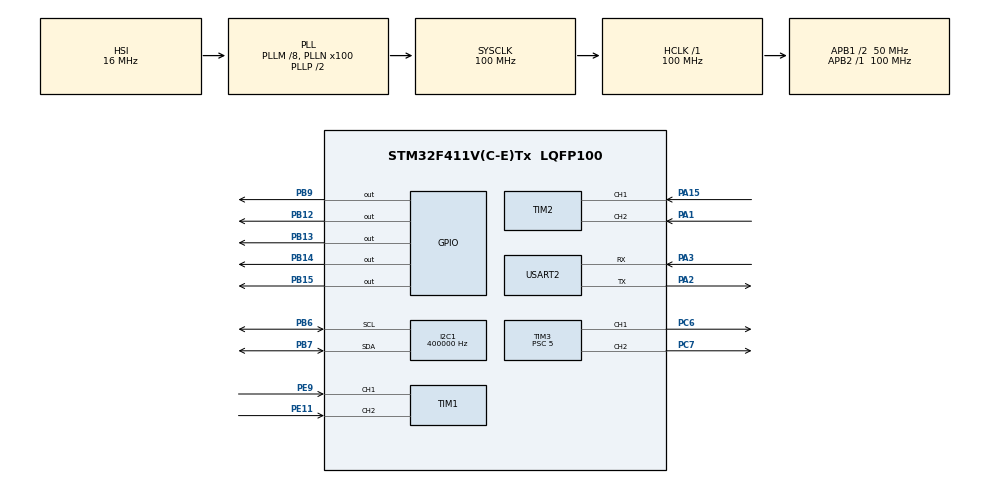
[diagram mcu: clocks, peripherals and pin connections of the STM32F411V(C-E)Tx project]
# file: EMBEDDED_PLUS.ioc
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Dma.I2C1_RX.0.Direction=DMA_PERIPH_TO_MEMORY
Dma.I2C1_RX.0.FIFOMode=DMA_FIFOMODE_DISABLE
Dma.I2C1_RX.0.Instance=DMA1_Stream0
Dma.I2C1_RX.0.MemDataAlignment=DMA_MDATAALIGN_BYTE
Dma.I2C1_RX.0.MemInc=DMA_MINC_ENABLE
Dma.I2C1_RX.0.Mode=DMA_NORMAL
Dma.I2C1_RX.0.PeriphDataAlignment=DMA_PDATAALIGN_BYTE
Dma.I2C1_RX.0.PeriphInc=DMA_PINC_DISABLE
Dma.I2C1_RX.0.Priority=DMA_PRIORITY_HIGH
Dma.Request0=I2C1_RX
FREERTOS.BinarySemaphores01=I2CSemaphore,Dynamic,NULL,Available
FREERTOS.Mutexes01=DataMutex,Dynamic,NULL,Available
FREERTOS.Queues01=UartQueue,16,uint8_t,0,Dynamic,NULL,NULL
FREERTOS.Tasks01=CommandTask,0,256,StartCommandTask,Default,NULL,Dynamic,NULL,NULL;BalanceTask,-3,512,StartBalanceTask,Default,NULL,Dynamic,NULL,NULL;SpeedTask,1,256,StartSpeedTask,Default,NULL,Dynamic,NULL,NULL
I2C1.ClockSpeed=400000
I2C1.I2C_Mode=I2C_Fast
Mcu.Family=STM32F4
Mcu.Name=STM32F411V(C-E)Tx
Mcu.Package=LQFP100
NVIC.DMA1_Stream0_IRQn=true\:5\:0\:false\:false\:true\:true\:false\:true\:true
NVIC.I2C1_ER_IRQn=true\:5\:0\:false\:false\:true\:true\:true\:true\:true
NVIC.I2C1_EV_IRQn=true\:5\:0\:false\:false\:true\:true\:true\:true\:true
NVIC.PriorityGroup=NVIC_PRIORITYGROUP_4
NVIC.TIM5_IRQn=true\:15\:0\:false\:false\:true\:false\:false\:true\:true
NVIC.TimeBase=TIM5_IRQn
NVIC.TimeBaseIP=TIM5
NVIC.USART2_IRQn=true\:5\:0\:true\:false\:true\:true\:true\:true\:true
PA1.Signal=S_TIM2_CH2
PA13.Mode=Serial_Wire
PA13.Signal=SYS_JTMS-SWDIO
PA14.Mode=Serial_Wire
PA14.Signal=SYS_JTCK-SWCLK
PA15.Signal=S_TIM2_CH1_ETR
PA2.Mode=Asynchronous
PA2.Signal=USART2_TX
PA3.Mode=Asynchronous
PA3.Signal=USART2_RX
PB12.Signal=GPIO_Output
PB13.Signal=GPIO_Output
PB14.Signal=GPIO_Output
PB15.Signal=GPIO_Output
PB6.Mode=I2C
PB6.Signal=I2C1_SCL
PB7.Mode=I2C
PB7.Signal=I2C1_SDA
PB9.Signal=GPIO_Output
PC6.Signal=S_TIM3_CH1
PC7.Signal=S_TIM3_CH2
PE11.Signal=S_TIM1_CH2
PE9.Signal=S_TIM1_CH1
PH0\ -\ OSC_IN.Mode=HSE-External-Oscillator
PH0\ -\ OSC_IN.Signal=RCC_OSC_IN
PH1\ -\ OSC_OUT.Mode=HSE-External-Oscillator
PH1\ -\ OSC_OUT.Signal=RCC_OSC_OUT
ProjectManager.HeapSize=0x200
ProjectManager.StackSize=0x400
ProjectManager.TargetToolchain=STM32CubeIDE
RCC.48MHZClocksFreq_Value=50000000
RCC.AHBFreq_Value=100000000
RCC.APB1CLKDivider=RCC_HCLK_DIV2
RCC.APB1Freq_Value=50000000
RCC.APB1TimFreq_Value=100000000
RCC.APB2Freq_Value=100000000
RCC.APB2TimFreq_Value=100000000
RCC.CortexFreq_Value=100000000
RCC.HCLKFreq_Value=100000000
RCC.HSE_VALUE=25000000
RCC.HSI_VALUE=16000000
RCC.LSE_VALUE=32768
RCC.PLLM=8
RCC.PLLN=100
RCC.SYSCLKFreq_VALUE=100000000
RCC.SYSCLKSource=RCC_SYSCLKSOURCE_PLLCLK
RCC.VCOOutputFreq_Value=200000000
SH.S_TIM1_CH1.0=TIM1_CH1,Encoder_Interface
SH.S_TIM1_CH2.0=TIM1_CH2,Encoder_Interface
SH.S_TIM2_CH1_ETR.0=TIM2_CH1,Encoder_Interface
SH.S_TIM2_CH2.0=TIM2_CH2,Encoder_Interface
SH.S_TIM3_CH1.0=TIM3_CH1,PWM Generation1 CH1
SH.S_TIM3_CH2.0=TIM3_CH2,PWM Generation2 CH2
TIM1.EncoderMode=TIM_ENCODERMODE_TI12
TIM2.EncoderMode=TIM_ENCODERMODE_TI12
TIM3.Channel-PWM\ Generation1\ CH1=TIM_CHANNEL_1
TIM3.Channel-PWM\ Generation2\ CH2=TIM_CHANNEL_2
TIM3.Period=999
TIM3.Prescaler=5
USART2.VirtualMode=VM_ASYNC
VP_FREERTOS_VS_CMSIS_V1.Mode=CMSIS_V1
VP_SYS_VS_tim5.Mode=TIM5
VP_TIM3_VS_ClockSourceINT.Mode=Internal
board=custom

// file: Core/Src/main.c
/* USER CODE BEGIN Header */
/**
  ******************************************************************************
  * @file           : main.c
  * @brief          : Main program body
  ******************************************************************************
  * @attention
  *
  * Copyright (c) 2026 STMicroelectronics.
  * All rights reserved.
  *
  * This software is licensed under terms that can be found in the LICENSE file
  * in the root directory of this software component.
  * If no LICENSE file comes with this software, it is provided AS-IS.
  *
  ******************************************************************************
  */
/* USER CODE END Header */
#include "main.h"
#include "cmsis_os.h"

/* USER CODE BEGIN Includes */
#include "math.h"
#include "FreeRTOS.h"
#include "string.h"
#include <stdio.h>
/* USER CODE END Includes */

I2C_HandleTypeDef hi2c1;
DMA_HandleTypeDef hdma_i2c1_rx;

TIM_HandleTypeDef htim1;
TIM_HandleTypeDef htim2;
TIM_HandleTypeDef htim3;

UART_HandleTypeDef huart2;

osThreadId CommandTaskHandle;
osThreadId BalanceTaskHandle;
osThreadId SpeedTaskHandle;
osMessageQId UartQueueHandle;
osMutexId DataMutexHandle;
osSemaphoreId I2CSemaphoreHandle;
/* USER CODE BEGIN PV */
uint8_t mpu_raw_data[14];
float gyro_bias_x = 0.0f;
float gyro_bias_y = 0.0f;
float gyro_bias_z = 0.0f;

// --- Biến trạng thái điều khiển ---
float angle = 0.0f;
float angle_gyro = 0.0f;
int16_t pwm = 0;
float angle_offset = -2.3f;
int16_t enc1 = 0;
int16_t enc2 = 0;
int16_t pwm_left = 0;
int16_t pwm_right = 0;
float current_speed = 0;
// --- Biến giao tiếp lệnh (Bảo vệ bằng Mutex) ---
float target_speed = 0.0f;
int16_t turn_offset = 0;

// --- Thông số PID góc (Vòng trong) ---
float Kp_angle = 88.8f;
float Kd_angle = 1.6f;

// --- Thông số PID tốc độ (Vòng ngoài) ---
float Kp_speed = 0.25f;
float Ki_speed = 0.003f;
float Kff_speed = 0.08f;

float speed_integral = 0.0f;
float filtered_speed = 0.0f;

// --- Dữ liệu UART RX ---
uint8_t rx_byte;
char buff[128];
/* USER CODE END PV */

void SystemClock_Config(void);
static void MX_GPIO_Init(void);
static void MX_DMA_Init(void);
static void MX_I2C1_Init(void);
static void MX_TIM2_Init(void);
static void MX_TIM3_Init(void);
static void MX_USART2_UART_Init(void);
static void MX_TIM1_Init(void);
void StartCommandTask(void const * argument);
void StartBalanceTask(void const * argument);
void StartSpeedTask(void const * argument);

/* USER CODE BEGIN PFP */
void MPU9250_CalibrateGyro(void);
void Motor_Set(int16_t pwm_left, int16_t pwm_right);
/* USER CODE END PFP */

int main(void)
{

  /* MCU Configuration--------------------------------------------------------*/

  /* Reset of all peripherals, Initializes the Flash interface and the Systick. */
  HAL_Init();

  /* Configure the system clock */
  SystemClock_Config();

  /* Initialize all configured peripherals */
  MX_GPIO_Init();
  MX_DMA_Init();
  MX_I2C1_Init();
  MX_TIM2_Init();
  MX_TIM3_Init();
  MX_USART2_UART_Init();
  MX_TIM1_Init();
  /* USER CODE BEGIN 2 */
  HAL_TIM_PWM_Start(&htim3, TIM_CHANNEL_1);
  HAL_TIM_PWM_Start(&htim3, TIM_CHANNEL_2);
  HAL_TIM_Encoder_Start(&htim2, TIM_CHANNEL_ALL);
  HAL_TIM_Encoder_Start(&htim1, TIM_CHANNEL_ALL);
  __HAL_TIM_MOE_ENABLE(&htim1);
  HAL_GPIO_WritePin(GPIOB, GPIO_PIN_9,GPIO_PIN_SET);
  Motor_Set(0,0);
  uint8_t data=0x00;
  HAL_I2C_Mem_Write(&hi2c1, 0x68 << 1, 0x6B, I2C_MEMADD_SIZE_8BIT, &data, 1, 100);
  HAL_Delay(10);
  uint8_t dlpf_cfg = 0x03; // Bật bộ lọc thông thấp ~42Hz chống rung chấn va chạm
  HAL_I2C_Mem_Write(&hi2c1, 0x68 << 1, 0x1A, I2C_MEMADD_SIZE_8BIT, &dlpf_cfg, 1, 100);
  uint8_t gyro_cfg = 0x10; // Nâng dải đo Gyro lên +-1000 deg/s
  HAL_I2C_Mem_Write(&hi2c1, 0x68 << 1, 0x1B, I2C_MEMADD_SIZE_8BIT, &gyro_cfg, 1, 100);
  HAL_Delay(1000);
  MPU9250_CalibrateGyro();
  /* USER CODE END 2 */

  /* Create the mutex(es) */
  /* definition and creation of DataMutex */
  osMutexDef(DataMutex);
  DataMutexHandle = osMutexCreate(osMutex(DataMutex));

  /* Create the semaphores(s) */
  /* definition and creation of I2CSemaphore */
  osSemaphoreDef(I2CSemaphore);
  I2CSemaphoreHandle = osSemaphoreCreate(osSemaphore(I2CSemaphore), 1);

  /* USER CODE BEGIN RTOS_SEMAPHORES */
  /* add semaphores, ... */
  osSemaphoreWait(I2CSemaphoreHandle, 0);
  /* USER CODE END RTOS_SEMAPHORES */

  /* Create the queue(s) */
  /* definition and creation of UartQueue */
  osMessageQDef(UartQueue, 16, uint8_t);
  UartQueueHandle = osMessageCreate(osMessageQ(UartQueue), NULL);

  /* Create the thread(s) */
  /* definition and creation of CommandTask */
  osThreadDef(CommandTask, StartCommandTask, 2, 0, 256);
  CommandTaskHandle = osThreadCreate(osThread(CommandTask), NULL);

  /* definition and creation of BalanceTask */
  osThreadDef(BalanceTask, StartBalanceTask, 3, 0, 512);
  BalanceTaskHandle = osThreadCreate(osThread(BalanceTask), NULL);

  /* definition and creation of SpeedTask */
  osThreadDef(SpeedTask, StartSpeedTask, 1, 0, 256);
  SpeedTaskHandle = osThreadCreate(osThread(SpeedTask), NULL);

  /* USER CODE BEGIN RTOS_THREADS */
  /* add threads, ... */
  HAL_UART_Receive_IT(&huart2, &rx_byte, 1);
  /* USER CODE END RTOS_THREADS */

  /* Start scheduler */
  osKernelStart();

  /* We should never get here as control is now taken by the scheduler */

  /* Infinite loop */
  while (1)
  {

  }
}

void SystemClock_Config(void)
{
  RCC_OscInitTypeDef RCC_OscInitStruct = {0};
  RCC_ClkInitTypeDef RCC_ClkInitStruct = {0};

  /** Configure the main internal regulator output voltage
  */
  __HAL_RCC_PWR_CLK_ENABLE();
  __HAL_PWR_VOLTAGESCALING_CONFIG(PWR_REGULATOR_VOLTAGE_SCALE1);

  /** Initializes the RCC Oscillators according to the specified parameters
  * in the RCC_OscInitTypeDef structure.
  */
  RCC_OscInitStruct.OscillatorType = RCC_OSCILLATORTYPE_HSI;
  RCC_OscInitStruct.HSIState = RCC_HSI_ON;
  RCC_OscInitStruct.HSICalibrationValue = RCC_HSICALIBRATION_DEFAULT;
  RCC_OscInitStruct.PLL.PLLState = RCC_PLL_ON;
  RCC_OscInitStruct.PLL.PLLSource = RCC_PLLSOURCE_HSI;
  RCC_OscInitStruct.PLL.PLLM = 8;
  RCC_OscInitStruct.PLL.PLLN = 100;
  RCC_OscInitStruct.PLL.PLLP = RCC_PLLP_DIV2;
  RCC_OscInitStruct.PLL.PLLQ = 4;
  if (HAL_RCC_OscConfig(&RCC_OscInitStruct) != HAL_OK)
  {
    Error_Handler();
  }

  /** Initializes the CPU, AHB and APB buses clocks
  */
  RCC_ClkInitStruct.ClockType = RCC_CLOCKTYPE_HCLK|RCC_CLOCKTYPE_SYSCLK
                              |RCC_CLOCKTYPE_PCLK1|RCC_CLOCKTYPE_PCLK2;
  RCC_ClkInitStruct.SYSCLKSource = RCC_SYSCLKSOURCE_PLLCLK;
  RCC_ClkInitStruct.AHBCLKDivider = RCC_SYSCLK_DIV1;
  RCC_ClkInitStruct.APB1CLKDivider = RCC_HCLK_DIV2;
  RCC_ClkInitStruct.APB2CLKDivider = RCC_HCLK_DIV1;

  if (HAL_RCC_ClockConfig(&RCC_ClkInitStruct, FLASH_LATENCY_3) != HAL_OK)
  {
    Error_Handler();
  }
}

static void MX_I2C1_Init(void)
{

  hi2c1.Instance = I2C1;
  hi2c1.Init.ClockSpeed = 400000;
  hi2c1.Init.DutyCycle = I2C_DUTYCYCLE_2;
  hi2c1.Init.OwnAddress1 = 0;
  hi2c1.Init.AddressingMode = I2C_ADDRESSINGMODE_7BIT;
  hi2c1.Init.DualAddressMode = I2C_DUALADDRESS_DISABLE;
  hi2c1.Init.OwnAddress2 = 0;
  hi2c1.Init.GeneralCallMode = I2C_GENERALCALL_DISABLE;
  hi2c1.Init.NoStretchMode = I2C_NOSTRETCH_DISABLE;
  if (HAL_I2C_Init(&hi2c1) != HAL_OK)
  {
    Error_Handler();
  }

}

static void MX_TIM1_Init(void)
{

  TIM_Encoder_InitTypeDef sConfig = {0};
  TIM_MasterConfigTypeDef sMasterConfig = {0};

  htim1.Instance = TIM1;
  htim1.Init.Prescaler = 0;
  htim1.Init.CounterMode = TIM_COUNTERMODE_UP;
  htim1.Init.Period = 65535;
  htim1.Init.ClockDivision = TIM_CLOCKDIVISION_DIV1;
  htim1.Init.RepetitionCounter = 0;
  htim1.Init.AutoReloadPreload = TIM_AUTORELOAD_PRELOAD_DISABLE;
  sConfig.EncoderMode = TIM_ENCODERMODE_TI12;
  sConfig.IC1Polarity = TIM_ICPOLARITY_RISING;
  sConfig.IC1Selection = TIM_ICSELECTION_DIRECTTI;
  sConfig.IC1Prescaler = TIM_ICPSC_DIV1;
  sConfig.IC1Filter = 0;
  sConfig.IC2Polarity = TIM_ICPOLARITY_RISING;
  sConfig.IC2Selection = TIM_ICSELECTION_DIRECTTI;
  sConfig.IC2Prescaler = TIM_ICPSC_DIV1;
  sConfig.IC2Filter = 0;
  if (HAL_TIM_Encoder_Init(&htim1, &sConfig) != HAL_OK)
  {
    Error_Handler();
  }
  sMasterConfig.MasterOutputTrigger = TIM_TRGO_RESET;
  sMasterConfig.MasterSlaveMode = TIM_MASTERSLAVEMODE_DISABLE;
  if (HAL_TIMEx_MasterConfigSynchronization(&htim1, &sMasterConfig) != HAL_OK)
  {
    Error_Handler();
  }

}

static void MX_TIM2_Init(void)
{

  TIM_Encoder_InitTypeDef sConfig = {0};
  TIM_MasterConfigTypeDef sMasterConfig = {0};

  htim2.Instance = TIM2;
  htim2.Init.Prescaler = 0;
  htim2.Init.CounterMode = TIM_COUNTERMODE_UP;
  htim2.Init.Period = 4294967295;
  htim2.Init.ClockDivision = TIM_CLOCKDIVISION_DIV1;
  htim2.Init.AutoReloadPreload = TIM_AUTORELOAD_PRELOAD_DISABLE;
  sConfig.EncoderMode = TIM_ENCODERMODE_TI12;
  sConfig.IC1Polarity = TIM_ICPOLARITY_RISING;
  sConfig.IC1Selection = TIM_ICSELECTION_DIRECTTI;
  sConfig.IC1Prescaler = TIM_ICPSC_DIV1;
  sConfig.IC1Filter = 0;
  sConfig.IC2Polarity = TIM_ICPOLARITY_RISING;
  sConfig.IC2Selection = TIM_ICSELECTION_DIRECTTI;
  sConfig.IC2Prescaler = TIM_ICPSC_DIV1;
  sConfig.IC2Filter = 0;
  if (HAL_TIM_Encoder_Init(&htim2, &sConfig) != HAL_OK)
  {
    Error_Handler();
  }
  sMasterConfig.MasterOutputTrigger = TIM_TRGO_RESET;
  sMasterConfig.MasterSlaveMode = TIM_MASTERSLAVEMODE_DISABLE;
  if (HAL_TIMEx_MasterConfigSynchronization(&htim2, &sMasterConfig) != HAL_OK)
  {
    Error_Handler();
  }

}

static void MX_TIM3_Init(void)
{

  TIM_ClockConfigTypeDef sClockSourceConfig = {0};
  TIM_MasterConfigTypeDef sMasterConfig = {0};
  TIM_OC_InitTypeDef sConfigOC = {0};

  htim3.Instance = TIM3;
  htim3.Init.Prescaler = 5;
  htim3.Init.CounterMode = TIM_COUNTERMODE_UP;
  htim3.Init.Period = 999;
  htim3.Init.ClockDivision = TIM_CLOCKDIVISION_DIV1;
  htim3.Init.AutoReloadPreload = TIM_AUTORELOAD_PRELOAD_DISABLE;
  if (HAL_TIM_Base_Init(&htim3) != HAL_OK)
  {
    Error_Handler();
  }
  sClockSourceConfig.ClockSource = TIM_CLOCKSOURCE_INTERNAL;
  if (HAL_TIM_ConfigClockSource(&htim3, &sClockSourceConfig) != HAL_OK)
  {
    Error_Handler();
  }
  if (HAL_TIM_PWM_Init(&htim3) != HAL_OK)
  {
    Error_Handler();
  }
  sMasterConfig.MasterOutputTrigger = TIM_TRGO_RESET;
  sMasterConfig.MasterSlaveMode = TIM_MASTERSLAVEMODE_DISABLE;
  if (HAL_TIMEx_MasterConfigSynchronization(&htim3, &sMasterConfig) != HAL_OK)
  {
    Error_Handler();
  }
  sConfigOC.OCMode = TIM_OCMODE_PWM1;
  sConfigOC.Pulse = 0;
  sConfigOC.OCPolarity = TIM_OCPOLARITY_HIGH;
  sConfigOC.OCFastMode = TIM_OCFAST_DISABLE;
  if (HAL_TIM_PWM_ConfigChannel(&htim3, &sConfigOC, TIM_CHANNEL_1) != HAL_OK)
  {
    Error_Handler();
  }
  if (HAL_TIM_PWM_ConfigChannel(&htim3, &sConfigOC, TIM_CHANNEL_2) != HAL_OK)
  {
    Error_Handler();
  }
  HAL_TIM_MspPostInit(&htim3);

}

static void MX_USART2_UART_Init(void)
{

  huart2.Instance = USART2;
  huart2.Init.BaudRate = 115200;
  huart2.Init.WordLength = UART_WORDLENGTH_8B;
  huart2.Init.StopBits = UART_STOPBITS_1;
  huart2.Init.Parity = UART_PARITY_NONE;
  huart2.Init.Mode = UART_MODE_TX_RX;
  huart2.Init.HwFlowCtl = UART_HWCONTROL_NONE;
  huart2.Init.OverSampling = UART_OVERSAMPLING_16;
  if (HAL_UART_Init(&huart2) != HAL_OK)
  {
    Error_Handler();
  }

}

static void MX_DMA_Init(void)
{

  /* DMA controller clock enable */
  __HAL_RCC_DMA1_CLK_ENABLE();

  /* DMA interrupt init */
  /* DMA1_Stream0_IRQn interrupt configuration */
  HAL_NVIC_SetPriority(DMA1_Stream0_IRQn, 5, 0);
  HAL_NVIC_EnableIRQ(DMA1_Stream0_IRQn);

}

static void MX_GPIO_Init(void)
{
  GPIO_InitTypeDef GPIO_InitStruct = {0};

  /* GPIO Ports Clock Enable */
  __HAL_RCC_GPIOH_CLK_ENABLE();
  __HAL_RCC_GPIOA_CLK_ENABLE();
  __HAL_RCC_GPIOE_CLK_ENABLE();
  __HAL_RCC_GPIOB_CLK_ENABLE();
  __HAL_RCC_GPIOC_CLK_ENABLE();

  /*Configure GPIO pin Output Level */
  HAL_GPIO_WritePin(GPIOB, GPIO_PIN_12|GPIO_PIN_13|GPIO_PIN_14|GPIO_PIN_15
                          |GPIO_PIN_9, GPIO_PIN_RESET);

  /*Configure GPIO pins : PB12 PB13 PB14 PB15
                           PB9 */
  GPIO_InitStruct.Pin = GPIO_PIN_12|GPIO_PIN_13|GPIO_PIN_14|GPIO_PIN_15
                          |GPIO_PIN_9;
  GPIO_InitStruct.Mode = GPIO_MODE_OUTPUT_PP;
  GPIO_InitStruct.Pull = GPIO_NOPULL;
  GPIO_InitStruct.Speed = GPIO_SPEED_FREQ_LOW;
  HAL_GPIO_Init(GPIOB, &GPIO_InitStruct);

}

/* USER CODE BEGIN 4 */
void HAL_I2C_MemRxCpltCallback(I2C_HandleTypeDef *hi2c)
{
  if (hi2c->Instance == I2C1)
  {
    osSemaphoreRelease(I2CSemaphoreHandle);
  }
}

void HAL_I2C_ErrorCallback(I2C_HandleTypeDef *hi2c)
{
//  if (hi2c->Instance == I2C1)
//  {
//    osSemaphoreRelease(I2CSemaphoreHandle);
//  }
}

void HAL_UART_RxCpltCallback(UART_HandleTypeDef *huart){
	if(huart->Instance == USART2){
		BaseType_t xHigherPriorityTaskWoken = pdFALSE;
		xQueueSendFromISR((QueueHandle_t)UartQueueHandle, &rx_byte, &xHigherPriorityTaskWoken);
		HAL_UART_Receive_IT(&huart2, &rx_byte, 1);
		portYIELD_FROM_ISR(xHigherPriorityTaskWoken);
	}
}

void HAL_UART_ErrorCallback(UART_HandleTypeDef *huart)
{
    if (huart->Instance == USART2) {
        __HAL_UART_CLEAR_OREFLAG(huart);
        HAL_UART_Receive_IT(&huart2, &rx_byte, 1);
    }
}

void MPU9250_CalibrateGyro(void){
	uint8_t gyro_data[6];
	int32_t sum_x = 0, sum_y = 0, sum_z = 0;
	for(int i = 0; i< 500; i++){
		HAL_I2C_Mem_Read(&hi2c1, 0x68 << 1, 0x43, I2C_MEMADD_SIZE_8BIT, gyro_data, 6, 100);
		sum_x += (int16_t)((gyro_data[0] << 8) | gyro_data[1]);
		sum_y += (int16_t)((gyro_data[2] << 8) | gyro_data[3]);
		sum_z += (int16_t)((gyro_data[4] << 8) | gyro_data[5]);
		HAL_Delay(2);
	}
	gyro_bias_x = sum_x / 500.0f;
	gyro_bias_y = sum_y / 500.0f;
	gyro_bias_z = sum_z / 500.0f;
}

void Motor_Set(int16_t pwm_left, int16_t pwm_right)
{
	if (pwm_left > 999)   pwm_left = 999;
	if (pwm_left < -999)  pwm_left = -999;
	if (pwm_right > 999)  pwm_right = 999;
	if (pwm_right < -999) pwm_right = -999;
	if (pwm_left > 0) {
		HAL_GPIO_WritePin(GPIOB, GPIO_PIN_12, GPIO_PIN_SET);
		HAL_GPIO_WritePin(GPIOB, GPIO_PIN_13, GPIO_PIN_RESET);
		__HAL_TIM_SET_COMPARE(&htim3, TIM_CHANNEL_1, pwm_left);
	}
	else if (pwm_left < 0) {
		HAL_GPIO_WritePin(GPIOB, GPIO_PIN_12, GPIO_PIN_RESET);
		HAL_GPIO_WritePin(GPIOB, GPIO_PIN_13, GPIO_PIN_SET);
		__HAL_TIM_SET_COMPARE(&htim3, TIM_CHANNEL_1, -pwm_left);
	}
	else {
		HAL_GPIO_WritePin(GPIOB, GPIO_PIN_12, GPIO_PIN_RESET);
		HAL_GPIO_WritePin(GPIOB, GPIO_PIN_13, GPIO_PIN_RESET);
		__HAL_TIM_SET_COMPARE(&htim3, TIM_CHANNEL_1, 0);
	}
	if (pwm_right > 0) {
		HAL_GPIO_WritePin(GPIOB, GPIO_PIN_14, GPIO_PIN_SET);
		HAL_GPIO_WritePin(GPIOB, GPIO_PIN_15, GPIO_PIN_RESET);
		__HAL_TIM_SET_COMPARE(&htim3, TIM_CHANNEL_2, pwm_right);
	}
	else if (pwm_right < 0) {
		HAL_GPIO_WritePin(GPIOB, GPIO_PIN_14, GPIO_PIN_RESET);
		HAL_GPIO_WritePin(GPIOB, GPIO_PIN_15, GPIO_PIN_SET);
		__HAL_TIM_SET_COMPARE(&htim3, TIM_CHANNEL_2, -pwm_right);
	}
	else {
		HAL_GPIO_WritePin(GPIOB, GPIO_PIN_14, GPIO_PIN_RESET);
		HAL_GPIO_WritePin(GPIOB, GPIO_PIN_15, GPIO_PIN_RESET);
		__HAL_TIM_SET_COMPARE(&htim3, TIM_CHANNEL_2, 0);
	}
}
/* USER CODE END 4 */

void StartCommandTask(void const * argument)
{
  /* USER CODE BEGIN 5 */
  /* Infinite loop */
	char rx_line[32];
	uint8_t idx = 0;
	while(1)
	{
		osEvent event = osMessageGet(UartQueueHandle, osWaitForever);
	    if(event.status == osEventMessage){
	    	uint8_t byte = (uint8_t)event.value.v;
	    	if(byte != '\n' && byte != '\r'){
	    		rx_line[idx++] = (char)byte;
	    		if(idx >= sizeof(rx_line) - 1){
	    			idx = 0;
	    		}
	    	}
	    	else{
	    		if(idx > 0){
	    			rx_line[idx] = '\0';
	    			float next_speed = 0.0f;
	    			int16_t next_turn = 0;
	    			uint8_t update = 0;
	    			if(strcmp(rx_line,"F") == 0){
	    				next_speed = -29.6f;
	    				update = 1;
	    			}
	    			else if(strcmp(rx_line, "B") == 0){
	    				next_speed = 18.0f;
	    				update = 1;
	    			}
	    			else if(strcmp(rx_line, "L") == 0){
	    				next_turn = -220;
	    				update = 2;
	    			}
	    			else if(strcmp(rx_line, "R") == 0){
	    				next_turn = 220;
	    				update = 2;
	    			}
	    			else if(strcmp(rx_line, "S") == 0){
	    			    next_speed = 0.0f;
	    			    next_turn = 0;
	    			    update = 1;
	    			}
	    			else{
	    				next_speed = 0.0f;
	    				next_turn = 0;
	    				update = 0;
	    			}
	    			if(update > 0 && osMutexWait(DataMutexHandle, osWaitForever) == osOK){
	    				if(update == 1){
	    					target_speed = next_speed;
	    					turn_offset = next_turn;
	    				}
	    				else if(update == 2){
	    					turn_offset = next_turn;
	    				}
	    				osMutexRelease(DataMutexHandle);
	    			}
	    		}
	    		idx = 0;
	    	}
	    }
	  }
  /* USER CODE END 5 */
}

void StartBalanceTask(void const * argument)
{
  /* USER CODE BEGIN StartBalanceTask */
  /* Infinite loop */
	TickType_t xLastWakeTime = xTaskGetTickCount();
	const TickType_t xFrequency = pdMS_TO_TICKS(10);
	const float dt = 0.01f;
	static float smooth_target_angle = 0.0f;
	static int32_t sync_integral = 0;
	static float filtered_gy = 0.0f;
	while(1)
	{
		if(HAL_I2C_Mem_Read_DMA(&hi2c1, 0x68 << 1, 0x3B, I2C_MEMADD_SIZE_8BIT, (uint8_t *)&mpu_raw_data, 14) == HAL_OK){
			if(osSemaphoreWait(I2CSemaphoreHandle, 5) == osOK){
				int16_t accel_x = (int16_t)((mpu_raw_data[0] << 8) | mpu_raw_data[1]);
				int16_t accel_z = (int16_t)((mpu_raw_data[4] << 8) | mpu_raw_data[5]);
				int16_t gyro_y  = (int16_t)((mpu_raw_data[10] << 8) | mpu_raw_data[11]);
				float ax = accel_x / 16384.0f;
				float az = accel_z / 16384.0f;
				float gy = -(gyro_y - gyro_bias_y) / 32.8f;
				float angle_acc = atan2f(ax, az) * 180.0f / 3.14159265f;
				angle_acc -= angle_offset;
				angle_gyro += gy * dt;
				angle = 0.98f * angle_gyro + 0.02f * angle_acc;
				angle_gyro = angle;
				enc1 = -(int16_t)__HAL_TIM_GET_COUNTER(&htim2);
				enc2 = -(int16_t)__HAL_TIM_GET_COUNTER(&htim1);
				__HAL_TIM_SET_COUNTER(&htim2, 0);
				__HAL_TIM_SET_COUNTER(&htim1, 0);
				current_speed = -(enc1 + enc2) / 2.0f;
				filtered_speed = filtered_speed * 0.85f + current_speed * 0.15f;

				static float local_target_speed = 0.0f;
				static int16_t local_turn_offset = 0;
				if (osMutexWait(DataMutexHandle, osWaitForever) == osOK) {
					local_target_speed = target_speed;
					local_turn_offset = turn_offset;
					osMutexRelease(DataMutexHandle);
				}

								// 2. Ramp tốc độ mục tiêu (Tăng tốc mượt, phanh mượt)
				static float ramped_target_speed = 0.0f;
				float ramp_step = (local_target_speed == 0.0f) ? 0.45f : 0.33f; // Tăng 0.3/10ms (~0.6s đạt max), phanh 0.45/10ms
				if (ramped_target_speed < local_target_speed) {
					ramped_target_speed += ramp_step;
					if (ramped_target_speed > local_target_speed) ramped_target_speed = local_target_speed;
				}
				else if (ramped_target_speed > local_target_speed) {
					ramped_target_speed -= ramp_step;
					if (ramped_target_speed < local_target_speed) ramped_target_speed = local_target_speed;
				}
								// 3. PID VÒNG NGOÀI (Tốc độ + Feedforward giữ đà đua)
				float speed_error = ramped_target_speed - filtered_speed;
				if (angle > -20.0f && angle < 20.0f) {
					speed_integral += speed_error;
				}
				if (speed_integral > 600.0f)  speed_integral = 600.0f;
				if (speed_integral < -600.0f) speed_integral = -600.0f;
				float ff_angle = Kff_speed * ramped_target_speed;
				float target_angle = ff_angle + (Kp_speed * speed_error) + (Ki_speed * speed_integral);
				if (target_angle > 15.0f)  target_angle = 15.0f;
				if (target_angle < -15.0f) target_angle = -15.0f;

								// 4. Làm mượt góc mục tiêu trước khi đưa vào vòng PID góc
				smooth_target_angle = smooth_target_angle * 0.6f + target_angle * 0.4f;
				float angle_error = angle - smooth_target_angle;
				filtered_gy = filtered_gy * 0.4f + gy * 0.6f;
				float pwm_out = (Kp_angle * angle_error) + (Kd_angle * filtered_gy);
				pwm = (int16_t)pwm_out;
				  	        // 11. XUẤT PWM VÀ BẢO VỆ AN TOÀN
				  	        // Nếu ngã quá 50 độ -> ngắt động cơ
				if(angle > 60.0f || angle < -60.0f) {
				pwm = 0;
				speed_integral = 0;
				sync_integral = 0;
				Motor_Set(0, 0);
				}
				else {
				      // 1. T�?NH TO�?N �?ỒNG BỘ (SYNC)
					int16_t enc_diff = enc1 - enc2;
				    if (local_turn_offset != 0) {
				    	sync_integral = 0;
				    }
				    else{
				    	sync_integral += enc_diff;
				    	if (sync_integral > 250)  sync_integral = 250;
				    	if (sync_integral < -250) sync_integral = -250;
				    }
				    float Kp_sync = 6.0f;
				    float Ki_sync = 0.8f;
				    int16_t sync_offset = (int16_t)(enc_diff * Kp_sync + sync_integral * Ki_sync);
				    if (local_turn_offset != 0) {
				           sync_offset = 0;
				    }
				    // 2. T�?NH PWM THÔ CHO TỪNG B�?NH (Gộp PID, rẽ và đồng bộ)
				    pwm_left  = pwm + local_turn_offset - sync_offset;
				    pwm_right = pwm - local_turn_offset + sync_offset;

				      // 3. BÙ VÙNG CHẾT �?ỘC LẬP (DEADZONE)
				    int16_t min_pwm_left  = 50;
				    int16_t min_pwm_right = 45;
				    if (pwm_left > 1) {
				    	pwm_left += min_pwm_left;
				    }
				    else if (pwm_left < -1) {
				        pwm_left -= min_pwm_left;
				    }
				    else {
				        pwm_left = 0;
				    }
				        // Bù cho bánh phải (chỉ bù khi vượt ngưỡng ±1)
				    if (pwm_right > 1) {
				        pwm_right += min_pwm_right;
				    }
				    else if (pwm_right < -1) {
				        pwm_right -= min_pwm_right;
				    }
				    else {
				        pwm_right = 0;
				    }
				    Motor_Set(pwm_left, pwm_right);
				}
			}
			else{
				HAL_I2C_Master_Abort_IT(&hi2c1, 0x68 << 1);
				HAL_I2C_DeInit(&hi2c1);
				HAL_I2C_Init(&hi2c1);
			}
		}
		vTaskDelayUntil(&xLastWakeTime, xFrequency);
	}
  /* USER CODE END StartBalanceTask */
}

void StartSpeedTask(void const * argument)
{
  /* USER CODE BEGIN StartSpeedTask */
  /* Infinite loop */
  for(;;)
  {
	  if (huart2.gState == HAL_UART_STATE_READY)
	  {
		  int16_t speed_x10 = (int16_t)(fabsf(filtered_speed) * 10.0f);
		  const char *angle_sign = (angle < -0.05f) ? "-" : "";
		  int16_t angle_x10 = (int16_t)(fabsf(angle) * 10.0f);
		  int len = snprintf(buff, sizeof(buff), "D:%d.%d,%s%d.%d\n",speed_x10 / 10, speed_x10 % 10,angle_sign, angle_x10 / 10, angle_x10 % 10);
		  taskENTER_CRITICAL();
		  HAL_UART_Transmit_IT(&huart2, (uint8_t*)buff, len);
		  taskEXIT_CRITICAL();
	  }

	  		// Ngủ 200ms nhường CPU cho BalanceTask và CommandTask
	  osDelay(200);
  }
  /* USER CODE END StartSpeedTask */
}

void HAL_TIM_PeriodElapsedCallback(TIM_HandleTypeDef *htim)
{
  if (htim->Instance == TIM5) {
    HAL_IncTick();
  }
}

void Error_Handler(void)
{
  __disable_irq();
  while (1)
  {
  }
}
